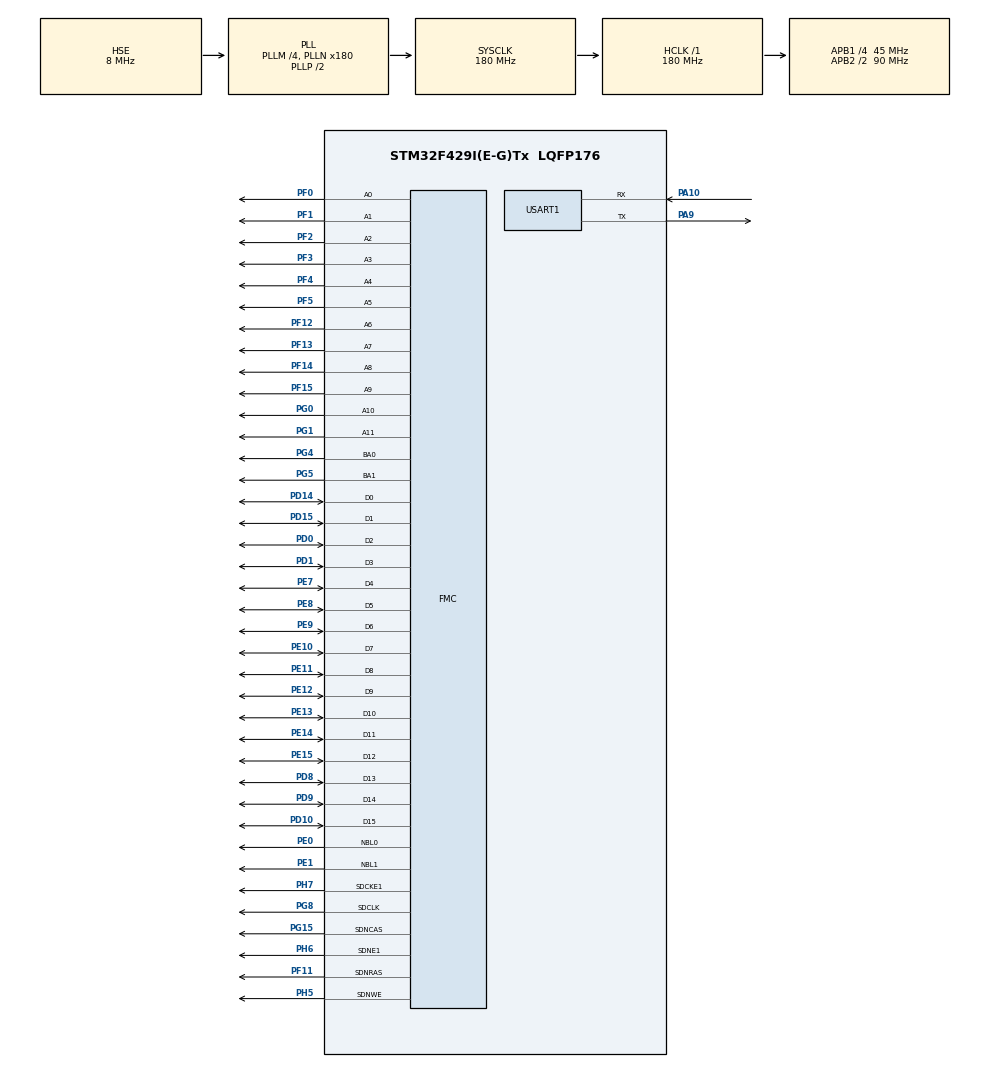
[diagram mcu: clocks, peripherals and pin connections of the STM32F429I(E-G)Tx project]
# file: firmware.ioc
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Dma.Request0=USART1_RX
Dma.Request1=USART1_TX
Dma.USART1_RX.0.Direction=DMA_PERIPH_TO_MEMORY
Dma.USART1_RX.0.FIFOMode=DMA_FIFOMODE_DISABLE
Dma.USART1_RX.0.Instance=DMA2_Stream2
Dma.USART1_RX.0.MemDataAlignment=DMA_MDATAALIGN_BYTE
Dma.USART1_RX.0.MemInc=DMA_MINC_ENABLE
Dma.USART1_RX.0.Mode=DMA_CIRCULAR
Dma.USART1_RX.0.PeriphDataAlignment=DMA_PDATAALIGN_BYTE
Dma.USART1_RX.0.PeriphInc=DMA_PINC_DISABLE
Dma.USART1_RX.0.Priority=DMA_PRIORITY_LOW
Dma.USART1_TX.1.Direction=DMA_MEMORY_TO_PERIPH
Dma.USART1_TX.1.FIFOMode=DMA_FIFOMODE_DISABLE
Dma.USART1_TX.1.Instance=DMA2_Stream7
Dma.USART1_TX.1.MemDataAlignment=DMA_MDATAALIGN_BYTE
Dma.USART1_TX.1.MemInc=DMA_MINC_ENABLE
Dma.USART1_TX.1.Mode=DMA_NORMAL
Dma.USART1_TX.1.PeriphDataAlignment=DMA_PDATAALIGN_BYTE
Dma.USART1_TX.1.PeriphInc=DMA_PINC_DISABLE
Dma.USART1_TX.1.Priority=DMA_PRIORITY_LOW
FMC.CASLatency1=FMC_SDRAM_CAS_LATENCY_2
FMC.ExitSelfRefreshDelay1=6
FMC.LoadToActiveDelay1=2
FMC.RCDDelay1=2
FMC.RPDelay1=2
FMC.ReadBurst1=FMC_SDRAM_RBURST_ENABLE
FMC.ReadPipeDelay1=FMC_SDRAM_RPIPE_DELAY_1
FMC.ReadPipeDelay2=FMC_SDRAM_RPIPE_DELAY_1
FMC.RowCycleDelay1=6
FMC.RowCycleDelay2=6
FMC.SDClockPeriod1=FMC_SDRAM_CLOCK_PERIOD_2
FMC.SelfRefreshTime1=4
FMC.WriteRecoveryTime1=2
Mcu.Family=STM32F4
Mcu.Name=STM32F429I(E-G)Tx
Mcu.Package=LQFP176
NVIC.DMA2_Stream2_IRQn=true\:0\:0\:false\:false\:true\:false\:true\:true
NVIC.DMA2_Stream7_IRQn=true\:0\:0\:false\:false\:true\:false\:true\:true
NVIC.FMC_IRQn=true\:0\:0\:false\:false\:true\:true\:true\:true
NVIC.PriorityGroup=NVIC_PRIORITYGROUP_4
NVIC.USART1_IRQn=true\:0\:0\:false\:false\:true\:true\:true\:true
PA10.Mode=Asynchronous
PA10.Signal=USART1_RX
PA13.Mode=Serial_Wire
PA13.Signal=SYS_JTMS-SWDIO
PA14.Mode=Serial_Wire
PA14.Signal=SYS_JTCK-SWCLK
PA9.Mode=Asynchronous
PA9.Signal=USART1_TX
PC14/OSC32_IN.Mode=LSE-External-Oscillator
PC14/OSC32_IN.Signal=RCC_OSC32_IN
PC15/OSC32_OUT.Mode=LSE-External-Oscillator
PC15/OSC32_OUT.Signal=RCC_OSC32_OUT
PD0.Signal=FMC_D2_DA2
PD1.Signal=FMC_D3_DA3
PD10.Signal=FMC_D15_DA15
PD14.Signal=FMC_D0_DA0
PD15.Signal=FMC_D1_DA1
PD8.Signal=FMC_D13_DA13
PD9.Signal=FMC_D14_DA14
PE0.Signal=FMC_NBL0
PE1.Signal=FMC_NBL1
PE10.Signal=FMC_D7_DA7
PE11.Signal=FMC_D8_DA8
PE12.Signal=FMC_D9_DA9
PE13.Signal=FMC_D10_DA10
PE14.Signal=FMC_D11_DA11
PE15.Signal=FMC_D12_DA12
PE7.Signal=FMC_D4_DA4
PE8.Signal=FMC_D5_DA5
PE9.Signal=FMC_D6_DA6
PF0.Signal=FMC_A0
PF1.Signal=FMC_A1
PF11.Signal=FMC_SDNRAS
PF12.Signal=FMC_A6
PF13.Signal=FMC_A7
PF14.Signal=FMC_A8
PF15.Signal=FMC_A9
PF2.Signal=FMC_A2
PF3.Signal=FMC_A3
PF4.Signal=FMC_A4
PF5.Signal=FMC_A5
PG0.Signal=FMC_A10
PG1.Signal=FMC_A11
PG15.Signal=FMC_SDNCAS
PG4.Signal=FMC_A14_BA0
PG5.Signal=FMC_A15_BA1
PG8.Signal=FMC_SDCLK
PH0/OSC_IN.Mode=HSE-External-Oscillator
PH0/OSC_IN.Signal=RCC_OSC_IN
PH1/OSC_OUT.Mode=HSE-External-Oscillator
PH1/OSC_OUT.Signal=RCC_OSC_OUT
PH5.Signal=FMC_SDNWE
PH6.Mode=SdramChipSelect2_1
PH6.Signal=FMC_SDNE1
PH7.Mode=SdramChipSelect2_1
PH7.Signal=FMC_SDCKE1
ProjectManager.HeapSize=0x2000
ProjectManager.StackSize=0x4000
ProjectManager.TargetToolchain=Makefile
RCC.48MHZClocksFreq_Value=90000000
RCC.AHBFreq_Value=180000000
RCC.APB1CLKDivider=RCC_HCLK_DIV4
RCC.APB1Freq_Value=45000000
RCC.APB1TimFreq_Value=90000000
RCC.APB2CLKDivider=RCC_HCLK_DIV2
RCC.APB2Freq_Value=90000000
RCC.APB2TimFreq_Value=180000000
RCC.CortexFreq_Value=180000000
RCC.HCLKFreq_Value=180000000
RCC.HSE_VALUE=8000000
RCC.HSI_VALUE=16000000
RCC.PLLM=4
RCC.PLLN=180
RCC.PLLSourceVirtual=RCC_PLLSOURCE_HSE
RCC.RCC_RTC_Clock_Source=RCC_RTCCLKSOURCE_LSE
RCC.SYSCLKFreq_VALUE=180000000
RCC.SYSCLKSource=RCC_SYSCLKSOURCE_PLLCLK
RCC.VCOOutputFreq_Value=360000000
SH.FMC_A0.0=FMC_A0,12b-sda1
SH.FMC_A1.0=FMC_A1,12b-sda1
SH.FMC_A10.0=FMC_A10,12b-sda1
SH.FMC_A11.0=FMC_A11,12b-sda1
SH.FMC_A14_BA0.0=FMC_BA0,FourSdramBanks1
SH.FMC_A15_BA1.0=FMC_BA1,FourSdramBanks1
SH.FMC_A2.0=FMC_A2,12b-sda1
SH.FMC_A3.0=FMC_A3,12b-sda1
SH.FMC_A4.0=FMC_A4,12b-sda1
SH.FMC_A5.0=FMC_A5,12b-sda1
SH.FMC_A6.0=FMC_A6,12b-sda1
SH.FMC_A7.0=FMC_A7,12b-sda1
SH.FMC_A8.0=FMC_A8,12b-sda1
SH.FMC_A9.0=FMC_A9,12b-sda1
SH.FMC_D0_DA0.0=FMC_D0,sd-16b-d1
SH.FMC_D10_DA10.0=FMC_D10,sd-16b-d1
SH.FMC_D11_DA11.0=FMC_D11,sd-16b-d1
SH.FMC_D12_DA12.0=FMC_D12,sd-16b-d1
SH.FMC_D13_DA13.0=FMC_D13,sd-16b-d1
SH.FMC_D14_DA14.0=FMC_D14,sd-16b-d1
SH.FMC_D15_DA15.0=FMC_D15,sd-16b-d1
SH.FMC_D1_DA1.0=FMC_D1,sd-16b-d1
SH.FMC_D2_DA2.0=FMC_D2,sd-16b-d1
SH.FMC_D3_DA3.0=FMC_D3,sd-16b-d1
SH.FMC_D4_DA4.0=FMC_D4,sd-16b-d1
SH.FMC_D5_DA5.0=FMC_D5,sd-16b-d1
SH.FMC_D6_DA6.0=FMC_D6,sd-16b-d1
SH.FMC_D7_DA7.0=FMC_D7,sd-16b-d1
SH.FMC_D8_DA8.0=FMC_D8,sd-16b-d1
SH.FMC_D9_DA9.0=FMC_D9,sd-16b-d1
SH.FMC_NBL0.0=FMC_NBL0,Sd2ByteEnable1
SH.FMC_NBL1.0=FMC_NBL1,Sd2ByteEnable1
SH.FMC_SDCLK.0=FMC_SDCLK,12b-sda1
SH.FMC_SDNCAS.0=FMC_SDNCAS,12b-sda1
SH.FMC_SDNRAS.0=FMC_SDNRAS,12b-sda1
SH.FMC_SDNWE.0=FMC_SDNWE,12b-sda1
USART1.VirtualMode=VM_ASYNC
VP_RTC_VS_RTC_Activate.Mode=RTC_Enabled
board=custom

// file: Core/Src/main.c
/* USER CODE BEGIN Header */
/**
  ******************************************************************************
  * @file           : main.c
  * @brief          : Main program body
  ******************************************************************************
  * @attention
  *
  * Copyright (c) 2025 STMicroelectronics.
  * All rights reserved.
  *
  * This software is licensed under terms that can be found in the LICENSE file
  * in the root directory of this software component.
  * If no LICENSE file comes with this software, it is provided AS-IS.
  *
  ******************************************************************************
  */
/* USER CODE END Header */
#include "main.h"
#include "dma.h"
#include "rtc.h"
#include "usart.h"
#include "gpio.h"
#include "fmc.h"

/* USER CODE BEGIN Includes */
#include "retarget.h"
#include <stdio.h>
#include "microrl.h"
#include "ucmd.h"
#include "memory_man.h"
#include "term_gxf.h"
#include "micros.h"
#include "coremark.h"
#include "ucmd_time.h"

/* USER CODE END Includes */

/* USER CODE BEGIN PD */
#ifndef VERSION
#define VERSION "Dev build 0.00"
const unsigned char build_version[] = VERSION " " __DATE__ " "__TIME__;
#endif /* VERSION */

/* USER CODE END PD */

/* USER CODE BEGIN PV */

// SDRAM base address for Bank 2
#define SDRAM_BASE 0xD0000000
// SDRAM size is 8MB (8192*1024)
#define SDRAM_SIZE 0x00800000

// printf("sdram_buf adr 0x%08lx\r\n", (uint32_t)sdram_buf);
// sdram_buf adr 0xd0000000
__attribute__((section(".sdram_bss"))) volatile uint8_t sdram_buf[8192*1024];
// __attribute__((section(".sdram_bss"))) volatile uint8_t sdram_buf_overflowed[1];
// При перегенерации из MXCube файл STM32F429IGTx_FLASH.ld будет перезатерт,
// поэтому необходимо его ревертнуть используя функционал гита (ну или другим способом).

int ucmd_reset(int argc, char *argv[]);

// define command list
command_t cmd_list[] = {
  {
    .cmd  = "help",
    .help = "print available commands with their help text",
    .fn   = print_help_cb,
  },

  {
    .cmd  = "mem",
    .help = "memory man, use mem help",
    .fn   = ucmd_mem,
  },

  {
    .cmd  = "coremark",
    .help = "coremark",
    .fn   = coremark,
  },

  {
    .cmd  = "reset",
    .help = "reset",
    .fn   = ucmd_reset,
  },
  {
    .cmd  = "time",
    .help = "time",
    .fn   = ucmd_time,
  },

  {}, // null list terminator DON'T FORGET THIS!
};

/* USER CODE END PV */

void SystemClock_Config(void);

/* USER CODE BEGIN 0 */

int ucmd_reset(int argc, char *argv[]) {
  NVIC_SystemReset();
  return -1; // 0_o
}

void show_version(void) {

  printf("\r\n%s\r\n", build_version);

  set_display_atrib(F_GREEN);
  printf ("MCU DEVID:\t0x%08lx\r\n", HAL_GetDEVID());
  printf ("MCU REVID:\t0x%08lx\r\n", HAL_GetREVID());
  printf ("MCU UID0:\t0x%08lx\r\n", HAL_GetUIDw0());
  printf ("MCU UID1:\t0x%08lx\r\n", HAL_GetUIDw1());
  printf ("MCU UID2:\t0x%08lx\r\n", HAL_GetUIDw2());
  resetcolor();

  printf("System core clock %ld MHz\r\n", SystemCoreClock/1000000);
}
/* USER CODE END 0 */

int main(void)
{
  /* USER CODE BEGIN 1 */
  us_init();
  /* USER CODE END 1 */

  /* MCU Configuration--------------------------------------------------------*/

  /* Reset of all peripherals, Initializes the Flash interface and the Systick. */
  HAL_Init();

  /* Configure the system clock */
  SystemClock_Config();

  /* Initialize all configured peripherals */
  MX_GPIO_Init();
  MX_DMA_Init();
  MX_USART1_UART_Init();
  MX_FMC_Init();
  MX_RTC_Init();
  /* USER CODE BEGIN 2 */
  printf_init();
  show_version();

  ucmd_default_init();
  /* USER CODE END 2 */

  /* Infinite loop */
  /* USER CODE BEGIN WHILE */
  while (1)
  {

    ucmd_default_proc();
    printf_flush();
    HAL_Delay(10);

    /* USER CODE END WHILE */

  }
}

void SystemClock_Config(void)
{
  RCC_OscInitTypeDef RCC_OscInitStruct = {0};
  RCC_ClkInitTypeDef RCC_ClkInitStruct = {0};

  /** Configure the main internal regulator output voltage
  */
  __HAL_RCC_PWR_CLK_ENABLE();
  __HAL_PWR_VOLTAGESCALING_CONFIG(PWR_REGULATOR_VOLTAGE_SCALE1);

  /** Initializes the RCC Oscillators according to the specified parameters
  * in the RCC_OscInitTypeDef structure.
  */
  RCC_OscInitStruct.OscillatorType = RCC_OSCILLATORTYPE_HSE|RCC_OSCILLATORTYPE_LSE;
  RCC_OscInitStruct.HSEState = RCC_HSE_ON;
  RCC_OscInitStruct.LSEState = RCC_LSE_ON;
  RCC_OscInitStruct.PLL.PLLState = RCC_PLL_ON;
  RCC_OscInitStruct.PLL.PLLSource = RCC_PLLSOURCE_HSE;
  RCC_OscInitStruct.PLL.PLLM = 4;
  RCC_OscInitStruct.PLL.PLLN = 180;
  RCC_OscInitStruct.PLL.PLLP = RCC_PLLP_DIV2;
  RCC_OscInitStruct.PLL.PLLQ = 4;
  if (HAL_RCC_OscConfig(&RCC_OscInitStruct) != HAL_OK)
  {
    Error_Handler();
  }

  /** Activate the Over-Drive mode
  */
  if (HAL_PWREx_EnableOverDrive() != HAL_OK)
  {
    Error_Handler();
  }

  /** Initializes the CPU, AHB and APB buses clocks
  */
  RCC_ClkInitStruct.ClockType = RCC_CLOCKTYPE_HCLK|RCC_CLOCKTYPE_SYSCLK
                              |RCC_CLOCKTYPE_PCLK1|RCC_CLOCKTYPE_PCLK2;
  RCC_ClkInitStruct.SYSCLKSource = RCC_SYSCLKSOURCE_PLLCLK;
  RCC_ClkInitStruct.AHBCLKDivider = RCC_SYSCLK_DIV1;
  RCC_ClkInitStruct.APB1CLKDivider = RCC_HCLK_DIV4;
  RCC_ClkInitStruct.APB2CLKDivider = RCC_HCLK_DIV2;

  if (HAL_RCC_ClockConfig(&RCC_ClkInitStruct, FLASH_LATENCY_5) != HAL_OK)
  {
    Error_Handler();
  }
}

void Error_Handler(void)
{
  __disable_irq();
  while (1)
  {
  }
}
